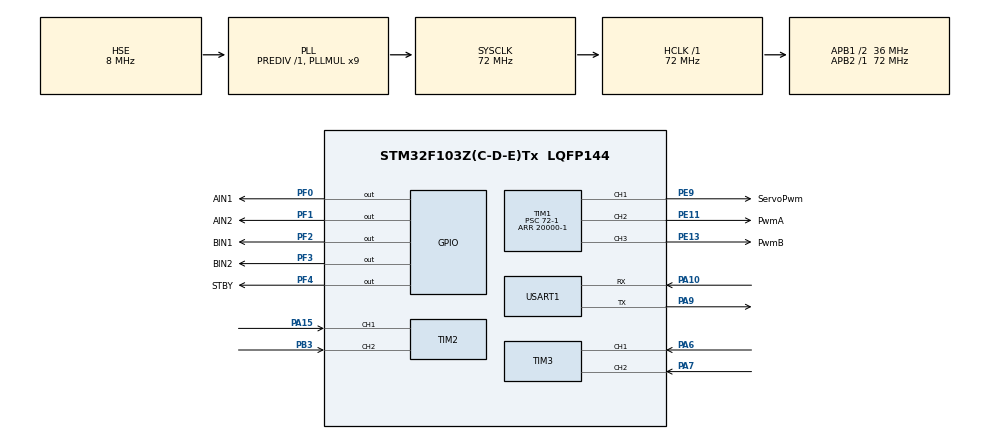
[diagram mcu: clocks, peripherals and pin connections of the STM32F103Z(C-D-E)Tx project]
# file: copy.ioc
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Mcu.Family=STM32F1
Mcu.Name=STM32F103Z(C-D-E)Tx
Mcu.Package=LQFP144
NVIC.PriorityGroup=NVIC_PRIORITYGROUP_4
NVIC.USART1_IRQn=true\:0\:0\:false\:false\:true\:true\:true\:true
OSC_IN.Mode=HSE-External-Oscillator
OSC_IN.Signal=RCC_OSC_IN
OSC_OUT.Mode=HSE-External-Oscillator
OSC_OUT.Signal=RCC_OSC_OUT
PA10.Mode=Asynchronous
PA10.Signal=USART1_RX
PA13.Mode=Serial_Wire
PA13.Signal=SYS_JTMS-SWDIO
PA14.Mode=Serial_Wire
PA14.Signal=SYS_JTCK-SWCLK
PA15.Signal=S_TIM2_CH1_ETR
PA6.Signal=S_TIM3_CH1
PA7.Signal=S_TIM3_CH2
PA9.Mode=Asynchronous
PA9.Signal=USART1_TX
PB3.Signal=S_TIM2_CH2
PC14-OSC32_IN.Mode=LSE-External-Oscillator
PC14-OSC32_IN.Signal=RCC_OSC32_IN
PC15-OSC32_OUT.Mode=LSE-External-Oscillator
PC15-OSC32_OUT.Signal=RCC_OSC32_OUT
PE11.GPIO_Label=PwmA
PE11.Signal=S_TIM1_CH2
PE13.GPIO_Label=PwmB
PE13.Signal=S_TIM1_CH3
PE9.GPIO_Label=ServoPwm
PE9.Signal=S_TIM1_CH1
PF0.GPIO_Label=AIN1
PF0.Signal=GPIO_Output
PF1.GPIO_Label=AIN2
PF1.Signal=GPIO_Output
PF2.GPIO_Label=BIN1
PF2.Signal=GPIO_Output
PF3.GPIO_Label=BIN2
PF3.Signal=GPIO_Output
PF4.GPIO_Label=STBY
PF4.Signal=GPIO_Output
ProjectManager.HeapSize=0x200
ProjectManager.StackSize=0x400
ProjectManager.TargetToolchain=MDK-ARM V5.32
RCC.AHBFreq_Value=72000000
RCC.APB1CLKDivider=RCC_HCLK_DIV2
RCC.APB1Freq_Value=36000000
RCC.APB1TimFreq_Value=72000000
RCC.APB2Freq_Value=72000000
RCC.APB2TimFreq_Value=72000000
RCC.HCLKFreq_Value=72000000
RCC.PLLMUL=RCC_PLL_MUL9
RCC.PLLSourceVirtual=RCC_PLLSOURCE_HSE
RCC.SYSCLKFreq_VALUE=72000000
RCC.SYSCLKSource=RCC_SYSCLKSOURCE_PLLCLK
RCC.USBFreq_Value=72000000
SH.S_TIM1_CH1.0=TIM1_CH1,PWM Generation1 CH1
SH.S_TIM1_CH2.0=TIM1_CH2,PWM Generation2 CH2
SH.S_TIM1_CH3.0=TIM1_CH3,PWM Generation3 CH3
SH.S_TIM2_CH1_ETR.0=TIM2_CH1,Encoder_Interface
SH.S_TIM2_CH2.0=TIM2_CH2,Encoder_Interface
SH.S_TIM3_CH1.0=TIM3_CH1,Encoder_Interface
SH.S_TIM3_CH2.0=TIM3_CH2,Encoder_Interface
TIM1.AutoReloadPreload=TIM_AUTORELOAD_PRELOAD_ENABLE
TIM1.Channel-PWM\ Generation1\ CH1=TIM_CHANNEL_1
TIM1.Channel-PWM\ Generation2\ CH2=TIM_CHANNEL_2
TIM1.Channel-PWM\ Generation3\ CH3=TIM_CHANNEL_3
TIM1.Period=20000-1
TIM1.Prescaler=72-1
TIM1.Pulse-PWM\ Generation1\ CH1=1500
USART1.VirtualMode=VM_ASYNC
VP_TIM1_VS_ClockSourceINT.Mode=Internal
VP_TIM4_VS_ClockSourceINT.Mode=Internal
board=custom

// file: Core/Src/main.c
/* USER CODE BEGIN Header */
/**
  ******************************************************************************
  * @file           : main.c
  * @brief          : Main program body
  ******************************************************************************
  * @attention
  *
  * Copyright (c) 2023 STMicroelectronics.
  * All rights reserved.
  *
  * This software is licensed under terms that can be found in the LICENSE file
  * in the root directory of this software component.
  * If no LICENSE file comes with this software, it is provided AS-IS.
  *
  ******************************************************************************
  */
/* USER CODE END Header */
#include "main.h"
#include "tim.h"
#include "usart.h"
#include "gpio.h"

/* USER CODE BEGIN Includes */
#include <stdio.h>
/* USER CODE END Includes */

/* USER CODE BEGIN PV */
int a = 2;
uint8_t temp;

uint8_t OT_RxBuffer[20];

int b = 130;
int c = 110;
/* USER CODE END PV */

void SystemClock_Config(void);
/* USER CODE BEGIN PFP */
/*
舵机控制函数：
返回值：无		参数：float类型的占空比值x%
注：
	7占空比的时候大概在中间位置，舵机使用的是 TIM_1的Channel_1 -> PE9
*/
void ServoControl(float duty_cycle)
{
	int pwm = 0;

	if(duty_cycle < 2.5)	//限制舵机PWM范围为20%-12.5%占空比，超出按照极限值算
	{
		duty_cycle = 2.5;
	}
	else if(duty_cycle > 12.5)
	{
		duty_cycle = 12.5;
	}

	pwm = (duty_cycle /100) * 20000.0;		//换算为pwm数值，计数值为20000
	__HAL_TIM_SET_COMPARE(&htim1, TIM_CHANNEL_1, pwm);
}

/*
电机控制函数：
返回值：无		参数：int类型的左右电机选择	0->左电机 1->右电机
									int类型的前进后退或停止选择	0->前进	1->后退 2->停止
									float类型的占空比值x%
注：
	左电机pwmA口 -> TIM_1的Channel_2 -> PE11
	右电机pwmB口 -> TIM_1的Channel_3 -> PE13
	AIN1 -> PF0		10
	AIN2 -> PF1
	BIN1 -> PF2		10
	BIN2 -> PF3
	STBY -> PF4
*/
void MotorControl(int left_or_right, int direction, float duty_cycle)
{
	int pwm = 0;

	if(duty_cycle < 0)	//限制舵机PWM范围为0%-100%占空比，超出按照极限值算
	{
		duty_cycle = 0;
	}
	else if(duty_cycle > 100)
	{
		duty_cycle = 100;
	}
	pwm = (duty_cycle /100) * 20000.0;		//换算为pwm数值，计数值为20000

	if(left_or_right == 0)	//控制左 或者 右电机 0->左电机 1->右电机
	{
		if(direction == 0)//控制电机前进后退或停止	0->前进	1->后退 2->停止
		{
			HAL_GPIO_WritePin(STBY_GPIO_Port, STBY_Pin, GPIO_PIN_SET);
			HAL_GPIO_WritePin(AIN1_GPIO_Port, AIN1_Pin, GPIO_PIN_RESET);
			HAL_GPIO_WritePin(AIN2_GPIO_Port, AIN2_Pin, GPIO_PIN_SET);
		}
		else if(direction == 1)
		{
			HAL_GPIO_WritePin(STBY_GPIO_Port, STBY_Pin, GPIO_PIN_SET);
			HAL_GPIO_WritePin(AIN1_GPIO_Port, AIN1_Pin, GPIO_PIN_SET);
			HAL_GPIO_WritePin(AIN2_GPIO_Port, AIN2_Pin, GPIO_PIN_RESET);
		}
		else if(direction == 2)
		{
			HAL_GPIO_WritePin(STBY_GPIO_Port, STBY_Pin, GPIO_PIN_RESET);
		}

		__HAL_TIM_SET_COMPARE(&htim1, TIM_CHANNEL_2, pwm);

		}
	else
	{
		if(direction == 0)//控制电机前进后退或停止	0->前进	1->后退 2->停止
		{
			HAL_GPIO_WritePin(STBY_GPIO_Port, STBY_Pin, GPIO_PIN_SET);
			HAL_GPIO_WritePin(BIN1_GPIO_Port, BIN1_Pin, GPIO_PIN_RESET);
			HAL_GPIO_WritePin(BIN2_GPIO_Port, BIN2_Pin, GPIO_PIN_SET);
		}
		else if(direction == 1)
		{
			HAL_GPIO_WritePin(STBY_GPIO_Port, STBY_Pin, GPIO_PIN_SET);
			HAL_GPIO_WritePin(BIN1_GPIO_Port, BIN1_Pin, GPIO_PIN_SET);
			HAL_GPIO_WritePin(BIN2_GPIO_Port, BIN2_Pin, GPIO_PIN_RESET);
		}
		else if(direction == 2)
		{
			HAL_GPIO_WritePin(STBY_GPIO_Port, STBY_Pin, GPIO_PIN_RESET);
		}

		__HAL_TIM_SET_COMPARE(&htim1, TIM_CHANNEL_3, pwm);
	}

}
/* USER CODE END PFP */

/* USER CODE BEGIN 0 */
/*
重定向printf和scanf函数，需引用<stdio.h>并且在设置中勾选USE MicroLib
*/
int fputc(int ch, FILE *f)
{
	uint8_t temp[1] = {ch};
	HAL_UART_Transmit(&huart1, temp, 1, 0xffff);
	return ch;
}

//int fgetc(FILE *f)
//{
//  uint8_t ch = 0;
//  HAL_UART_Receive(&huart1, &ch, 1, 0xffff);
//  return ch;
//}

/* USER CODE END 0 */

int main(void)
{

  /* MCU Configuration--------------------------------------------------------*/

  /* Reset of all peripherals, Initializes the Flash interface and the Systick. */
  HAL_Init();

  /* Configure the system clock */
  SystemClock_Config();

  /* Initialize all configured peripherals */
  MX_GPIO_Init();
  MX_TIM1_Init();
  MX_TIM2_Init();
  MX_TIM3_Init();
  MX_TIM4_Init();
  MX_USART1_UART_Init();
  /* USER CODE BEGIN 2 */
	HAL_UART_Receive_IT(&huart1, &temp, 1);
	HAL_TIM_PWM_Start(&htim1, TIM_CHANNEL_1); //开启TIM1 CHANNEL_1的PWM	舵机
	HAL_TIM_PWM_Start(&htim1, TIM_CHANNEL_2); //开启TIM1 CHANNEL_2的PWM	左电机
	HAL_TIM_PWM_Start(&htim1, TIM_CHANNEL_3); //开启TIM1 CHANNEL_3的PWM		右电机

	MotorControl(0,0,50);
	MotorControl(1,0,50);
	HAL_Delay(500);
	MotorControl(0,2,50);
	MotorControl(1,2,50);
	ServoControl(7);

	printf("hello\r\n");

  /* USER CODE END 2 */

  /* Infinite loop */
  while (1)
  {

  }
}

void SystemClock_Config(void)
{
  RCC_OscInitTypeDef RCC_OscInitStruct = {0};
  RCC_ClkInitTypeDef RCC_ClkInitStruct = {0};

  /** Initializes the RCC Oscillators according to the specified parameters
  * in the RCC_OscInitTypeDef structure.
  */
  RCC_OscInitStruct.OscillatorType = RCC_OSCILLATORTYPE_HSE;
  RCC_OscInitStruct.HSEState = RCC_HSE_ON;
  RCC_OscInitStruct.HSEPredivValue = RCC_HSE_PREDIV_DIV1;
  RCC_OscInitStruct.HSIState = RCC_HSI_ON;
  RCC_OscInitStruct.PLL.PLLState = RCC_PLL_ON;
  RCC_OscInitStruct.PLL.PLLSource = RCC_PLLSOURCE_HSE;
  RCC_OscInitStruct.PLL.PLLMUL = RCC_PLL_MUL9;
  if (HAL_RCC_OscConfig(&RCC_OscInitStruct) != HAL_OK)
  {
    Error_Handler();
  }

  /** Initializes the CPU, AHB and APB buses clocks
  */
  RCC_ClkInitStruct.ClockType = RCC_CLOCKTYPE_HCLK|RCC_CLOCKTYPE_SYSCLK
                              |RCC_CLOCKTYPE_PCLK1|RCC_CLOCKTYPE_PCLK2;
  RCC_ClkInitStruct.SYSCLKSource = RCC_SYSCLKSOURCE_PLLCLK;
  RCC_ClkInitStruct.AHBCLKDivider = RCC_SYSCLK_DIV1;
  RCC_ClkInitStruct.APB1CLKDivider = RCC_HCLK_DIV2;
  RCC_ClkInitStruct.APB2CLKDivider = RCC_HCLK_DIV1;

  if (HAL_RCC_ClockConfig(&RCC_ClkInitStruct, FLASH_LATENCY_2) != HAL_OK)
  {
    Error_Handler();
  }
}

/* USER CODE BEGIN 4 */
void HAL_UART_RxCpltCallback(UART_HandleTypeDef *huart)
{
if(huart -> Instance == huart1.Instance )
	{

	}
}

/* USER CODE END 4 */

void Error_Handler(void)
{
  __disable_irq();
  while (1)
  {
  }
}
